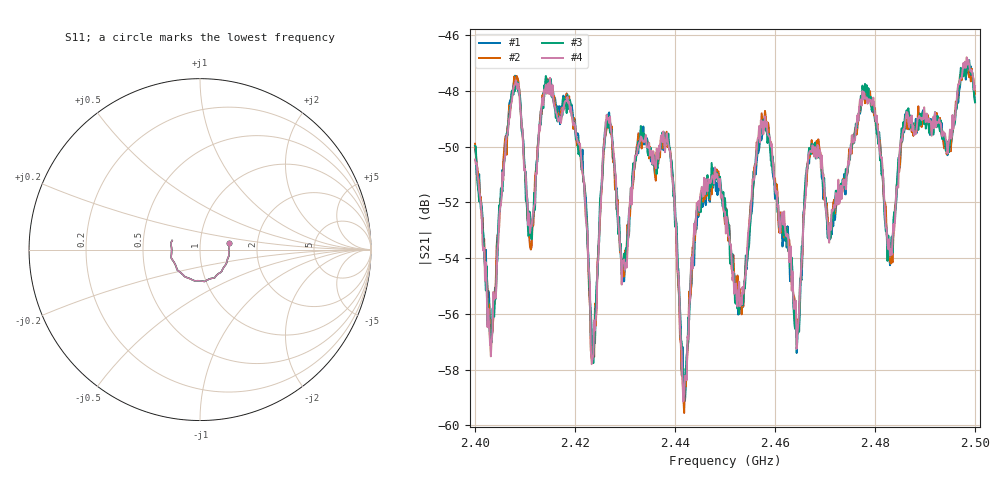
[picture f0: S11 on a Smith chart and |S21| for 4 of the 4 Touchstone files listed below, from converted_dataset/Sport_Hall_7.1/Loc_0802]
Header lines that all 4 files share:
# Hz S RI R 50
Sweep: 2.4 GHz to 2.5 GHz
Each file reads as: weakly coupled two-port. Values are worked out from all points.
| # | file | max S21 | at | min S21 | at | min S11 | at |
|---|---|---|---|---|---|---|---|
| 1 | Lab_139_3Ch1.s2p | -47.07 dB | 2.4983 GHz | -59.1 dB | 2.442 GHz | -15.6 dB | 2.4935 GHz |
| 2 | Lab_139_6Ch1.s2p | -47.14 dB | 2.4982 GHz | -59.6 dB | 2.4418 GHz | -15.6 dB | 2.4928 GHz |
| 3 | Lab_139_8Ch1.s2p | -46.89 dB | 2.4988 GHz | -59.0 dB | 2.4418 GHz | -15.6 dB | 2.4928 GHz |
| 4 | Lab_139_9Ch1.s2p | -46.79 dB | 2.4983 GHz | -59.1 dB | 2.4417 GHz | -15.6 dB | 2.4935 GHz |
